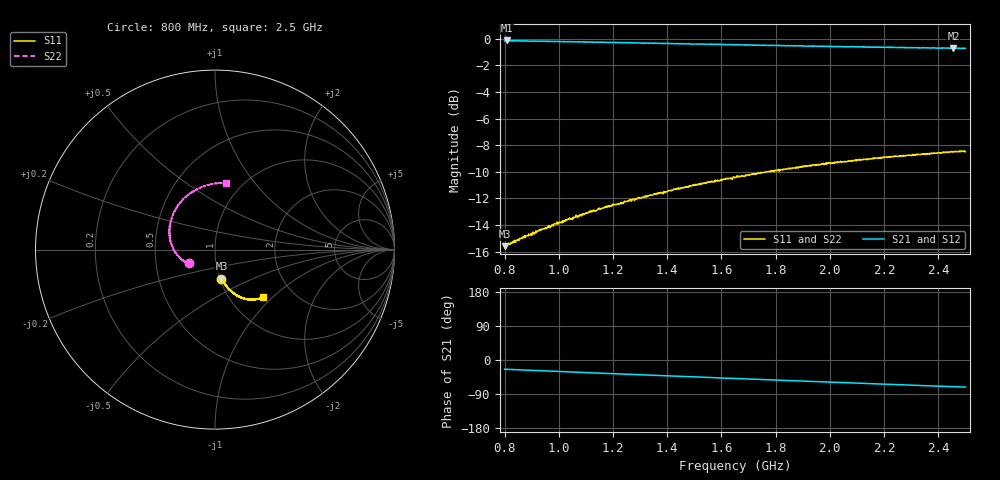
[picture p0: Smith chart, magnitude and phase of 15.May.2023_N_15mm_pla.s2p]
!Keysight Technologies N9950B: A.12.38
!Date: Monday, 15 May 2023 15:28:31
!Timezone: (UTC-06:00) Central Time (US & Canada)
!Model: N9950B
!Serial: MY61131330
!GPS Latitude:
!GPS Longitude:
!GPS TimeStamp: 0001-01-01 00:00:00Z
!GPS Seconds Since Last Read: 0
!CHECKSUM:0508849907
!Correction: S11(ON U)S21(ON U)S12(ON U)S22(ON U)
!S2P File: Measurements:S11,S21,S12,S22:
# Hz S DB R 50
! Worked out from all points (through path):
!   1001 points, 800 MHz to 2.5 GHz, reference 50 ohm
!   highest |S21| = -0.12 dB at 808.5 MHz (marker M1); lowest = -0.7 dB at 2.456 GHz (marker M2)
!   group delay of S21, straight-line fit = 77.2 ps
!   lowest |S11| = -15.6 dB at 800 MHz (marker M3), VSWR 1.40, Z = 50.8 - j17 ohm
!   |S11| at or under -10 dB: start of sweep to 1.77 GHz
!   |S22| runs from -15.7 to -8.5 dB; largest |S21 - S12| = 0.0053
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8e8  -15.59 -77.6  -0.15 -24.3  -0.16 -24.4  -15.60 -152.4
8.085e8  -15.41 -76.9  -0.12 -24.6  -0.14 -24.6  -15.50 -152.5
9.241e8  -14.43 -74.8  -0.18 -27.9  -0.17 -28.1  -14.53 -161.0
9.428e8  -14.30 -74.9  -0.19 -28.6  -0.17 -28.5  -14.39 -162.9
9.853e8  -13.91 -73.7  -0.20 -29.8  -0.20 -29.8  -14.04 -166.1
1.0244e9  -13.59 -73.4  -0.23 -31.0  -0.22 -30.9  -13.65 -169.0
1.0839e9  -13.31 -72.2  -0.24 -32.6  -0.24 -32.7  -13.31 -173.8
1.1281e9  -12.93 -71.4  -0.26 -34.1  -0.25 -34.0  -13.02 -177.2
1.1757e9  -12.68 -70.6  -0.27 -35.4  -0.26 -35.4  -12.66 179.4
1.2063e9  -12.47 -70.3  -0.27 -36.3  -0.26 -36.2  -12.57 177.4
1.2879e9  -12.00 -68.7  -0.31 -38.6  -0.32 -38.6  -12.07 171.4
1.3678e9  -11.65 -67.0  -0.35 -40.8  -0.34 -41.0  -11.66 165.4
1.514e9  -10.92 -64.4  -0.40 -45.0  -0.39 -45.0  -11.03 153.7
1.65e9  -10.44 -61.9  -0.44 -48.8  -0.45 -48.8  -10.54 143.7
1.769e9  -10.00 -59.5  -0.50 -52.0  -0.49 -52.1  -10.07 134.6
1.8438e9  -9.79 -57.9  -0.51 -54.1  -0.50 -54.2  -9.81 129.2
1.9339e9  -9.50 -56.0  -0.55 -56.5  -0.54 -56.5  -9.60 122.8
2.075e9  -9.18 -53.4  -0.60 -60.4  -0.60 -60.4  -9.24 111.9
2.2178e9  -8.88 -50.4  -0.64 -64.3  -0.64 -64.2  -8.96 101.7
2.3555e9  -8.65 -47.5  -0.69 -67.8  -0.68 -67.9  -8.71 91.5
2.4558e9  -8.51 -45.4  -0.73 -70.5  -0.70 -70.5  -8.58 84.2
2.5e9  -8.49 -44.4  -0.72 -71.6  -0.71 -71.7  -8.50 80.8
